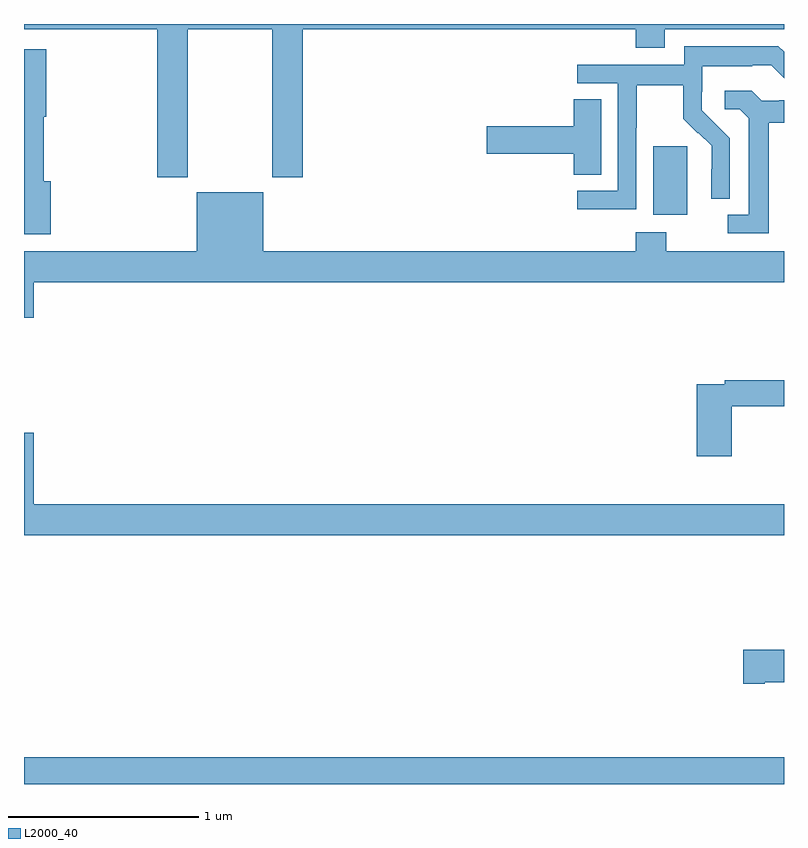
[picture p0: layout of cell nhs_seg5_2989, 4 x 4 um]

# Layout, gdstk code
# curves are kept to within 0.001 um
import gdstk
lib = gdstk.Library(unit=1e-6, precision=1e-09)
def R(c, l, rs):  # rectangles x0, y0, x1, y1
    for r in rs: c.add(gdstk.rectangle(r[:2], r[2:], *l))
def P(c, l, *ps):  # polygons
    for p in ps: c.add(gdstk.Polygon(p, *l))
L2000_40 = (2000, 40)

nhs_seg5_2989 = lib.new_cell('nhs_seg5_2989')
R(nhs_seg5_2989, L2000_40, [(285,840.799,289,840.94), (288.311,843.794,288.49,844.155)])
P(nhs_seg5_2989, L2000_40, [(285.861,844.772),(286.306,844.772),(286.306,843.993),(286.466,843.993),(286.466,844.772),(288.221,844.772),(288.221,844.673),(288.373,844.673),(288.373,844.772),(289,844.772),(289,844.799),(285,844.799),(285,844.772),(285.701,844.772),(285.701,843.993),(285.861,843.993)],
  [(288.222,844.252),(288.225,844.252),(288.225,844.476),(288.469,844.476),(288.469,844.301),(288.546,844.224),(288.549,844.227),(288.62,844.157),(288.62,844.034),(288.618,844.034),(288.618,843.88),(288.714,843.88),(288.714,844.198),(288.568,844.346),(288.568,844.443),(288.57,844.443),(288.57,844.577),(288.833,844.577),(288.833,844.581),(288.933,844.581),(289,844.514),(289,844.652),(288.971,844.681),(288.474,844.681),(288.474,844.584),(287.913,844.584),(287.913,844.488),(288.126,844.488),(288.126,843.921),(287.913,843.921),(287.913,843.823),(288.222,843.823)],
  [(285.14,843.972),(285.103,843.972),(285.103,844.31),(285.116,844.31),(285.116,844.666),(285,844.666),(285,843.693),(285.14,843.693)],
  [(288.919,844.28),(289,844.28),(289,844.398),(288.976,844.398),(288.976,844.395),(288.882,844.395),(288.83,844.447),(288.687,844.447),(288.687,844.35),(288.768,844.35),(288.815,844.303),(288.815,843.795),(288.705,843.795),(288.705,843.699),(288.919,843.699)],
  [(288.037,844.403),(287.894,844.403),(287.894,844.262),(287.436,844.262),(287.436,844.115),(287.894,844.115),(287.894,844.006),(288.037,844.006)],
  [(288.221,843.703),(288.221,843.604),(286.258,843.604),(286.258,843.913),(285.908,843.913),(285.908,843.604),(285,843.604),(285,843.252),(285.052,843.252),(285.052,843.44),(289,843.44),(289,843.604),(288.381,843.604),(288.381,843.703)],
  [(288.725,842.788),(289,842.788),(289,842.924),(288.688,842.924),(288.688,842.904),(288.542,842.904),(288.542,842.523),(288.725,842.523)],
  [(289,842.272),(285.052,842.272),(285.052,842.647),(285,842.647),(285,842.108),(289,842.108)],
  [(288.898,841.334),(289,841.334),(289,841.505),(288.786,841.505),(288.786,841.327),(288.898,841.327)])

lib.write_gds('nhs_seg5_2989.gds')
